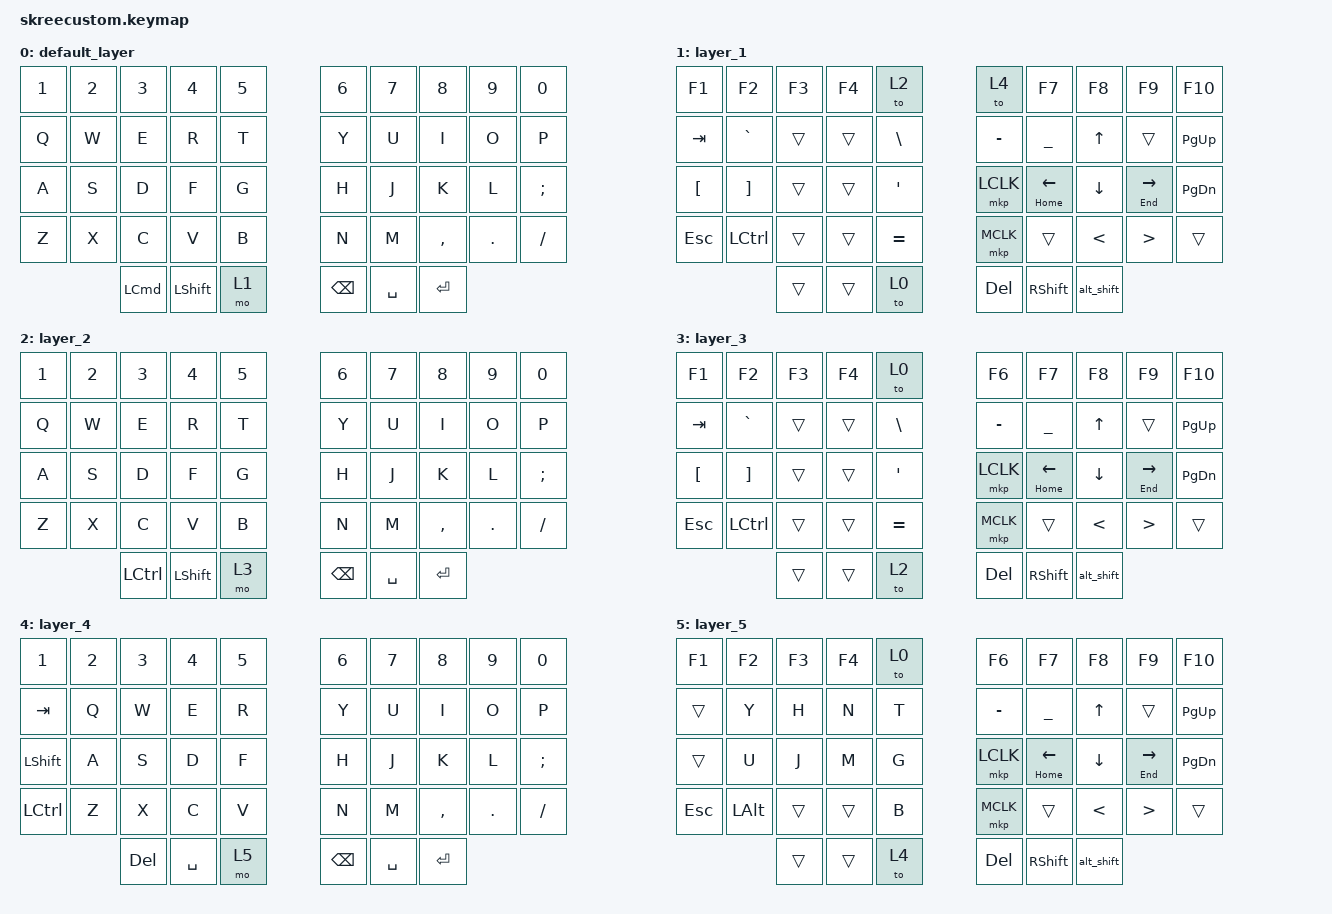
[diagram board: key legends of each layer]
/*
 * Copyright (c) 2020 The ZMK Contributors
 *
 * SPDX-License-Identifier: MIT
 */

#include <input/processors.dtsi>
#include <dt-bindings/zmk/input_transform.h>
#include <behaviors.dtsi>
#include <dt-bindings/zmk/keys.h>
#include <dt-bindings/zmk/pointing.h>

/ {
    behaviors {
        ht_tap_pref: ht_tap_pref {
            compatible = "zmk,behavior-hold-tap";
            label = "HT_TAP_PREF";
            bindings = <&kp>, <&kp>;

            #binding-cells = <2>;
            flavor = "tap-preferred";
            tapping-term-ms = <100>;
        };

        alt_shift: alt_shift {
            compatible = "zmk,behavior-tap-dance";
            label = "ALT_SHIFT";
            #binding-cells = <0>;
            bindings = <&kp RIGHT_ALT>, <&kp RS(RIGHT_ALT)>;

            tapping-term-ms = <200>;
        };
    };

    keymap {
        compatible = "zmk,keymap";

        default_layer {
            bindings = <
&kp N1  &kp N2  &kp N3            &kp N4          &kp N5    &kp N6         &kp N7     &kp N8     &kp N9   &kp N0
&kp Q   &kp W   &kp E             &kp R           &kp T     &kp Y          &kp U      &kp I      &kp O    &kp P
&kp A   &kp S   &kp D             &kp F           &kp G     &kp H          &kp J      &kp K      &kp L    &kp SEMI
&kp Z   &kp X   &kp C             &kp V           &kp B     &kp N          &kp M      &kp COMMA  &kp DOT  &kp FSLH
                &kp LEFT_COMMAND  &kp LEFT_SHIFT  &mo 1     &kp BACKSPACE  &kp SPACE  &kp ENTER
            >;
        };

        layer_1 {
            bindings = <
&kp F1            &kp F2             &kp F3  &kp F4  &to 2            &to 4       &kp F7                        &kp F8          &kp F9                  &kp F10
&kp TAB           &kp GRAVE          &trans  &trans  &kp BACKSLASH    &kp MINUS   &kp UNDERSCORE                &kp UP_ARROW    &trans                  &kp PAGE_UP
&kp LEFT_BRACKET  &kp RIGHT_BRACKET  &trans  &trans  &kp SQT          &mkp LCLK   &ht_tap_pref HOME LEFT_ARROW  &kp DOWN_ARROW  &ht_tap_pref END RIGHT  &kp PAGE_DOWN
&kp ESC           &kp LEFT_CONTROL   &trans  &trans  &kp EQUAL        &mkp MCLK   &trans                        &kp LESS_THAN   &kp GREATER_THAN        &trans
                                     &trans  &trans  &to 0            &kp DELETE  &kp RSHIFT                    &alt_shift
            >;
        };

        layer_2 {
            bindings = <
&kp N1  &kp N2  &kp N3     &kp N4          &kp N5    &kp N6         &kp N7     &kp N8     &kp N9   &kp N0
&kp Q   &kp W   &kp E      &kp R           &kp T     &kp Y          &kp U      &kp I      &kp O    &kp P
&kp A   &kp S   &kp D      &kp F           &kp G     &kp H          &kp J      &kp K      &kp L    &kp SEMI
&kp Z   &kp X   &kp C      &kp V           &kp B     &kp N          &kp M      &kp COMMA  &kp DOT  &kp FSLH
                &kp LCTRL  &kp LEFT_SHIFT  &mo 3     &kp BACKSPACE  &kp SPACE  &kp ENTER
            >;
        };

        layer_3 {
            bindings = <
&kp F1            &kp F2             &kp F3  &kp F4  &to 0            &kp F6      &kp F7                        &kp F8          &kp F9                  &kp F10
&kp TAB           &kp GRAVE          &trans  &trans  &kp BACKSLASH    &kp MINUS   &kp UNDERSCORE                &kp UP_ARROW    &trans                  &kp PAGE_UP
&kp LEFT_BRACKET  &kp RIGHT_BRACKET  &trans  &trans  &kp SQT          &mkp LCLK   &ht_tap_pref HOME LEFT_ARROW  &kp DOWN_ARROW  &ht_tap_pref END RIGHT  &kp PAGE_DOWN
&kp ESC           &kp LEFT_CONTROL   &trans  &trans  &kp EQUAL        &mkp MCLK   &trans                        &kp LESS_THAN   &kp GREATER_THAN        &trans
                                     &trans  &trans  &to 2            &kp DELETE  &kp RSHIFT                    &alt_shift
            >;
        };

        layer_4 {
            bindings = <
&kp N1          &kp N2  &kp N3      &kp N4     &kp N5    &kp N6         &kp N7     &kp N8     &kp N9   &kp N0
&kp TAB         &kp Q   &kp W       &kp E      &kp R     &kp Y          &kp U      &kp I      &kp O    &kp P
&kp LEFT_SHIFT  &kp A   &kp S       &kp D      &kp F     &kp H          &kp J      &kp K      &kp L    &kp SEMI
&kp LCTRL       &kp Z   &kp X       &kp C      &kp V     &kp N          &kp M      &kp COMMA  &kp DOT  &kp FSLH
                        &kp DELETE  &kp SPACE  &mo 5     &kp BACKSPACE  &kp SPACE  &kp ENTER
            >;
        };

        layer_5 {
            bindings = <
&kp F1   &kp F2        &kp F3  &kp F4  &to 0    &kp F6      &kp F7                        &kp F8          &kp F9                  &kp F10
&trans   &kp Y         &kp H   &kp N   &kp T    &kp MINUS   &kp UNDERSCORE                &kp UP_ARROW    &trans                  &kp PAGE_UP
&trans   &kp U         &kp J   &kp M   &kp G    &mkp LCLK   &ht_tap_pref HOME LEFT_ARROW  &kp DOWN_ARROW  &ht_tap_pref END RIGHT  &kp PAGE_DOWN
&kp ESC  &kp LEFT_ALT  &trans  &trans  &kp B    &mkp MCLK   &trans                        &kp LESS_THAN   &kp GREATER_THAN        &trans
                       &trans  &trans  &to 4    &kp DELETE  &kp RSHIFT                    &alt_shift
            >;
        };
    };
};

// //right hand trackball overrides
// &trackball_peripheral_listener {
//     input-processors =
//         <&zip_xy_transform INPUT_TRANSFORM_XY_SWAP>,//this gets it to the default installation orientation
//         <&zip_temp_layer 3 500>;//activate layer 3 within 500ms of the trackball moving
// };
// //left hand trackball overrides
// &trackball_central_listener {
//     input-processors = 
//         <&zip_xy_transform INPUT_TRANSFORM_XY_SWAP>,//this gets it to the default installation orientation
//         <&zip_xy_scaler 1 3>,//multiply sensitivity by 1, divide by 3 (make it slower for scrolling)
//         <&zip_xy_to_scroll_mapper>,//make this trackball output scrolling events by default instead of cursor movement
//         <&zip_scroll_transform INPUT_TRANSFORM_Y_INVERT>;//invert vertical scrolling so that the view moves in the same direction as the top of the trackball.
// };
